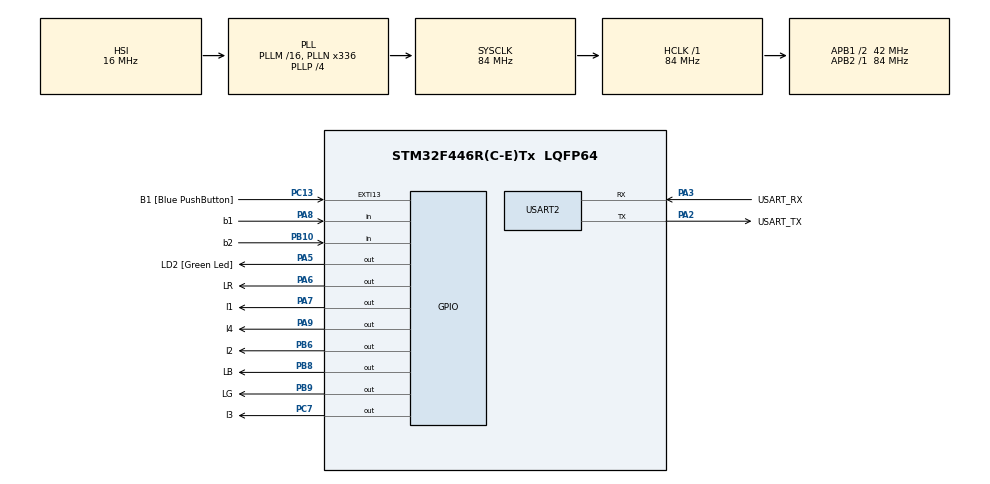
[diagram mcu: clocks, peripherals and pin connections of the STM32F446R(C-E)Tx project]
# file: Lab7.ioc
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Mcu.Family=STM32F4
Mcu.Name=STM32F446R(C-E)Tx
Mcu.Package=LQFP64
NVIC.PriorityGroup=NVIC_PRIORITYGROUP_0
PA13.GPIO_Label=TMS
PA13.Mode=Serial_Wire
PA13.Signal=SYS_JTMS-SWDIO
PA14.GPIO_Label=TCK
PA14.Mode=Serial_Wire
PA14.Signal=SYS_JTCK-SWCLK
PA2.GPIO_Label=USART_TX
PA2.Mode=Asynchronous
PA2.Signal=USART2_TX
PA3.GPIO_Label=USART_RX
PA3.Mode=Asynchronous
PA3.Signal=USART2_RX
PA5.GPIO_Label=LD2 [Green Led]
PA5.Signal=GPIO_Output
PA6.GPIO_Label=LR
PA6.Signal=GPIO_Output
PA7.GPIO_Label=l1
PA7.Signal=GPIO_Output
PA8.GPIO_Label=b1
PA8.GPIO_PuPd=GPIO_PULLUP
PA8.Signal=GPIO_Input
PA9.GPIO_Label=l4
PA9.Signal=GPIO_Output
PB10.GPIO_Label=b2
PB10.GPIO_PuPd=GPIO_PULLUP
PB10.Signal=GPIO_Input
PB3.GPIO_Label=SWO
PB3.Signal=SYS_JTDO-SWO
PB6.GPIO_Label=l2
PB6.Signal=GPIO_Output
PB8.GPIO_Label=LB
PB8.Signal=GPIO_Output
PB9.GPIO_Label=LG
PB9.Signal=GPIO_Output
PC13.GPIO_Label=B1 [Blue PushButton]
PC13.GPIO_ModeDefaultEXTI=GPIO_MODE_IT_FALLING
PC13.GPIO_PuPd=GPIO_PULLUP
PC13.Signal=GPXTI13
PC14-OSC32_IN.Mode=LSE-External-Oscillator
PC14-OSC32_IN.Signal=RCC_OSC32_IN
PC15-OSC32_OUT.Mode=LSE-External-Oscillator
PC15-OSC32_OUT.Signal=RCC_OSC32_OUT
PC7.GPIO_Label=l3
PC7.Signal=GPIO_Output
PH0-OSC_IN.Mode=HSE-External-Oscillator
PH0-OSC_IN.Signal=RCC_OSC_IN
PH1-OSC_OUT.Mode=HSE-External-Oscillator
PH1-OSC_OUT.Signal=RCC_OSC_OUT
ProjectManager.HeapSize=0x200
ProjectManager.StackSize=0x400
ProjectManager.TargetToolchain=STM32CubeIDE
RCC.48MHZClocksFreq_Value=84000000
RCC.AHBFreq_Value=84000000
RCC.APB1CLKDivider=RCC_HCLK_DIV2
RCC.APB1Freq_Value=42000000
RCC.APB1TimFreq_Value=84000000
RCC.APB2Freq_Value=84000000
RCC.APB2TimFreq_Value=84000000
RCC.CortexFreq_Value=84000000
RCC.FLatency-AdvancedSettings=FLASH_LATENCY_2
RCC.HCLKFreq_Value=84000000
RCC.HSE_VALUE=8000000
RCC.HSI_VALUE=16000000
RCC.PLLN=336
RCC.PLLP=RCC_PLLP_DIV4
RCC.SYSCLKFreq_VALUE=84000000
RCC.SYSCLKSource=RCC_SYSCLKSOURCE_PLLCLK
RCC.USBFreq_Value=168000000
RCC.VCOOutputFreq_Value=336000000
USART2.VirtualMode=VM_ASYNC
board=NUCLEO-F446RE

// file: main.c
/* USER CODE BEGIN Header */
/**
  ******************************************************************************
  * @file           : main.c
  * @brief          : Main program body
  ******************************************************************************
  * @attention
  *
  * Copyright (c) 2025 STMicroelectronics.
  * All rights reserved.
  *
  * This software is licensed under terms that can be found in the LICENSE file
  * in the root directory of this software component.
  * If no LICENSE file comes with this software, it is provided AS-IS.
  *
  ******************************************************************************
  */
/* USER CODE END Header */
#include "main.h"

/* USER CODE BEGIN Includes */
#include <stdint.h>
/* USER CODE END Includes */

UART_HandleTypeDef huart2;

/* USER CODE BEGIN PV */
uint8_t contador = 0;
uint8_t contRGB = 0;
uint8_t booleano = 0;
/* USER CODE END PV */

void SystemClock_Config(void);
static void MX_GPIO_Init(void);
static void MX_USART2_UART_Init(void);

int main(void)
{

  /* MCU Configuration--------------------------------------------------------*/

  /* Reset of all peripherals, Initializes the Flash interface and the Systick. */
  HAL_Init();

  /* Configure the system clock */
  SystemClock_Config();

  /* Initialize all configured peripherals */
  MX_GPIO_Init();
  MX_USART2_UART_Init();
  /* USER CODE BEGIN 2 */
  HAL_GPIO_WritePin(LB_GPIO_Port, LB_Pin, GPIO_PIN_SET);
  HAL_GPIO_WritePin(LR_GPIO_Port, LR_Pin, GPIO_PIN_SET);
  HAL_GPIO_WritePin(LG_GPIO_Port, LG_Pin, GPIO_PIN_SET);
  /* USER CODE END 2 */

  /* Infinite loop */
  /* USER CODE BEGIN WHILE */
  while (1)
  {
	  if (contador == 5){
		  contador = 0;
	  }if (contador == 255){
		  contador = 4;
	  }
	  if (contRGB == 7){
		  contRGB = 0;
	  }if (contRGB == 255){
		  contRGB = 6;
	  }
	  if (booleano >1){
	  		  booleano = 0;
	  }
	  if (HAL_GPIO_ReadPin(B1_GPIO_Port, B1_Pin)==0){
		  HAL_Delay(50);
		  if (HAL_GPIO_ReadPin(B1_GPIO_Port, B1_Pin)==0){
			  booleano++;
		  }while(HAL_GPIO_ReadPin(B1_GPIO_Port, B1_Pin)==0){}
	  }
	  switch(booleano){
	  case 0:
		  HAL_GPIO_WritePin(LD2_GPIO_Port, LD2_Pin, GPIO_PIN_RESET);
		  if (HAL_GPIO_ReadPin(b1_GPIO_Port, b1_Pin)==0){
			  HAL_Delay(50);
			  if (HAL_GPIO_ReadPin(b1_GPIO_Port, b1_Pin)==0){
				  contador++;
			  }while(HAL_GPIO_ReadPin(b1_GPIO_Port, b1_Pin)==0){}
		  }
		  if (HAL_GPIO_ReadPin(b2_GPIO_Port, b2_Pin)==0){
		  	  		  HAL_Delay(50);
		  	  		  if (HAL_GPIO_ReadPin(b2_GPIO_Port, b2_Pin)==0){
		  	  			  contador--;
		  	  		  }while(HAL_GPIO_ReadPin(b2_GPIO_Port, b2_Pin)==0){}
		  	  }
		  break;
	  case 1:
		  HAL_GPIO_WritePin(LD2_GPIO_Port, LD2_Pin, GPIO_PIN_SET);
	  		  if (HAL_GPIO_ReadPin(b1_GPIO_Port, b1_Pin)==0){
	  			  HAL_Delay(50);
	  			  if (HAL_GPIO_ReadPin(b1_GPIO_Port, b1_Pin)==0){
	  				  contRGB++;
	  			  }while(HAL_GPIO_ReadPin(b1_GPIO_Port, b1_Pin)==0){}
	  		  }
	  		  if (HAL_GPIO_ReadPin(b2_GPIO_Port, b2_Pin)==0){
	  		  	  		  HAL_Delay(50);
	  		  	  		  if (HAL_GPIO_ReadPin(b2_GPIO_Port, b2_Pin)==0){
	  		  	  			  contRGB--;
	  		  	  		  }while(HAL_GPIO_ReadPin(b2_GPIO_Port, b2_Pin)==0){}
	  		  	  }
	  		  break;
	  }
	  switch (contador) {
		case 0:
			HAL_GPIO_WritePin(l1_GPIO_Port, l1_Pin, GPIO_PIN_RESET);
			HAL_GPIO_WritePin(l2_GPIO_Port, l2_Pin, GPIO_PIN_RESET);
			HAL_GPIO_WritePin(l3_GPIO_Port, l3_Pin, GPIO_PIN_RESET);
			HAL_GPIO_WritePin(l4_GPIO_Port, l4_Pin, GPIO_PIN_RESET);
			break;
		case 1:
			HAL_GPIO_WritePin(l1_GPIO_Port, l1_Pin, GPIO_PIN_SET);
			HAL_GPIO_WritePin(l2_GPIO_Port, l2_Pin, GPIO_PIN_RESET);
			HAL_GPIO_WritePin(l3_GPIO_Port, l3_Pin, GPIO_PIN_RESET);
			HAL_GPIO_WritePin(l4_GPIO_Port, l4_Pin, GPIO_PIN_RESET);
			break;
		case 2:
			HAL_GPIO_WritePin(l1_GPIO_Port, l1_Pin, GPIO_PIN_RESET);
			HAL_GPIO_WritePin(l2_GPIO_Port, l2_Pin, GPIO_PIN_SET);
			HAL_GPIO_WritePin(l3_GPIO_Port, l3_Pin, GPIO_PIN_RESET);
			HAL_GPIO_WritePin(l4_GPIO_Port, l4_Pin, GPIO_PIN_RESET);
			break;
		case 3:
			HAL_GPIO_WritePin(l1_GPIO_Port, l1_Pin, GPIO_PIN_RESET);
			HAL_GPIO_WritePin(l2_GPIO_Port, l2_Pin, GPIO_PIN_RESET);
			HAL_GPIO_WritePin(l3_GPIO_Port, l3_Pin, GPIO_PIN_SET);
			HAL_GPIO_WritePin(l4_GPIO_Port, l4_Pin, GPIO_PIN_RESET);
			break;
		case 4:
			HAL_GPIO_WritePin(l1_GPIO_Port, l1_Pin, GPIO_PIN_RESET);
			HAL_GPIO_WritePin(l2_GPIO_Port, l2_Pin, GPIO_PIN_RESET);
			HAL_GPIO_WritePin(l3_GPIO_Port, l3_Pin, GPIO_PIN_RESET);
			HAL_GPIO_WritePin(l4_GPIO_Port, l4_Pin, GPIO_PIN_SET);
			break;
	}
	  switch (contRGB) {
	  		case 0:
	  			HAL_GPIO_WritePin(LR_GPIO_Port, LR_Pin, GPIO_PIN_SET);
	  			HAL_GPIO_WritePin(LG_GPIO_Port, LG_Pin, GPIO_PIN_SET);
	  			HAL_GPIO_WritePin(LB_GPIO_Port, LB_Pin, GPIO_PIN_SET);
	  			break;
	  		case 1:
	  			HAL_GPIO_WritePin(LR_GPIO_Port, LR_Pin, GPIO_PIN_RESET);
	  			HAL_GPIO_WritePin(LG_GPIO_Port, LG_Pin, GPIO_PIN_SET);
	  			HAL_GPIO_WritePin(LB_GPIO_Port, LB_Pin, GPIO_PIN_SET);
	  			break;
	  		case 2:
	  			HAL_GPIO_WritePin(LR_GPIO_Port, LR_Pin, GPIO_PIN_RESET);
	  			HAL_GPIO_WritePin(LG_GPIO_Port, LG_Pin, GPIO_PIN_SET);
	  			HAL_GPIO_WritePin(LB_GPIO_Port, LB_Pin, GPIO_PIN_RESET);
	  			break;
	  		case 3:
	  			HAL_GPIO_WritePin(LR_GPIO_Port, LR_Pin, GPIO_PIN_SET);
	  			HAL_GPIO_WritePin(LG_GPIO_Port, LG_Pin, GPIO_PIN_SET);
	  			HAL_GPIO_WritePin(LB_GPIO_Port, LB_Pin, GPIO_PIN_RESET);
	  			break;
	  		case 4:
	  			HAL_GPIO_WritePin(LR_GPIO_Port, LR_Pin, GPIO_PIN_SET);
	  			HAL_GPIO_WritePin(LG_GPIO_Port, LG_Pin, GPIO_PIN_RESET);
	  			HAL_GPIO_WritePin(LB_GPIO_Port, LB_Pin, GPIO_PIN_RESET);
	  			break;
	  		case 5:
	  			HAL_GPIO_WritePin(LR_GPIO_Port, LR_Pin, GPIO_PIN_SET);
	  			HAL_GPIO_WritePin(LG_GPIO_Port, LG_Pin, GPIO_PIN_RESET);
	  			HAL_GPIO_WritePin(LB_GPIO_Port, LB_Pin, GPIO_PIN_SET);
	  			break;
	  		case 6:
	  			HAL_GPIO_WritePin(LR_GPIO_Port, LR_Pin, GPIO_PIN_RESET);
	  			HAL_GPIO_WritePin(LG_GPIO_Port, LG_Pin, GPIO_PIN_RESET);
	  			HAL_GPIO_WritePin(LB_GPIO_Port, LB_Pin, GPIO_PIN_SET);
	  			break;
	  	}
    /* USER CODE END WHILE */

  }
}

void SystemClock_Config(void)
{
  RCC_OscInitTypeDef RCC_OscInitStruct = {0};
  RCC_ClkInitTypeDef RCC_ClkInitStruct = {0};

  /** Configure the main internal regulator output voltage
  */
  __HAL_RCC_PWR_CLK_ENABLE();
  __HAL_PWR_VOLTAGESCALING_CONFIG(PWR_REGULATOR_VOLTAGE_SCALE3);

  /** Initializes the RCC Oscillators according to the specified parameters
  * in the RCC_OscInitTypeDef structure.
  */
  RCC_OscInitStruct.OscillatorType = RCC_OSCILLATORTYPE_HSI;
  RCC_OscInitStruct.HSIState = RCC_HSI_ON;
  RCC_OscInitStruct.HSICalibrationValue = RCC_HSICALIBRATION_DEFAULT;
  RCC_OscInitStruct.PLL.PLLState = RCC_PLL_ON;
  RCC_OscInitStruct.PLL.PLLSource = RCC_PLLSOURCE_HSI;
  RCC_OscInitStruct.PLL.PLLM = 16;
  RCC_OscInitStruct.PLL.PLLN = 336;
  RCC_OscInitStruct.PLL.PLLP = RCC_PLLP_DIV4;
  RCC_OscInitStruct.PLL.PLLQ = 2;
  RCC_OscInitStruct.PLL.PLLR = 2;
  if (HAL_RCC_OscConfig(&RCC_OscInitStruct) != HAL_OK)
  {
    Error_Handler();
  }

  /** Initializes the CPU, AHB and APB buses clocks
  */
  RCC_ClkInitStruct.ClockType = RCC_CLOCKTYPE_HCLK|RCC_CLOCKTYPE_SYSCLK
                              |RCC_CLOCKTYPE_PCLK1|RCC_CLOCKTYPE_PCLK2;
  RCC_ClkInitStruct.SYSCLKSource = RCC_SYSCLKSOURCE_PLLCLK;
  RCC_ClkInitStruct.AHBCLKDivider = RCC_SYSCLK_DIV1;
  RCC_ClkInitStruct.APB1CLKDivider = RCC_HCLK_DIV2;
  RCC_ClkInitStruct.APB2CLKDivider = RCC_HCLK_DIV1;

  if (HAL_RCC_ClockConfig(&RCC_ClkInitStruct, FLASH_LATENCY_2) != HAL_OK)
  {
    Error_Handler();
  }
}

static void MX_USART2_UART_Init(void)
{

  huart2.Instance = USART2;
  huart2.Init.BaudRate = 115200;
  huart2.Init.WordLength = UART_WORDLENGTH_8B;
  huart2.Init.StopBits = UART_STOPBITS_1;
  huart2.Init.Parity = UART_PARITY_NONE;
  huart2.Init.Mode = UART_MODE_TX_RX;
  huart2.Init.HwFlowCtl = UART_HWCONTROL_NONE;
  huart2.Init.OverSampling = UART_OVERSAMPLING_16;
  if (HAL_UART_Init(&huart2) != HAL_OK)
  {
    Error_Handler();
  }

}

static void MX_GPIO_Init(void)
{
  GPIO_InitTypeDef GPIO_InitStruct = {0};

  /* GPIO Ports Clock Enable */
  __HAL_RCC_GPIOC_CLK_ENABLE();
  __HAL_RCC_GPIOH_CLK_ENABLE();
  __HAL_RCC_GPIOA_CLK_ENABLE();
  __HAL_RCC_GPIOB_CLK_ENABLE();

  /*Configure GPIO pin Output Level */
  HAL_GPIO_WritePin(GPIOA, LD2_Pin|LR_Pin|l1_Pin|l4_Pin, GPIO_PIN_RESET);

  /*Configure GPIO pin Output Level */
  HAL_GPIO_WritePin(l3_GPIO_Port, l3_Pin, GPIO_PIN_RESET);

  /*Configure GPIO pin Output Level */
  HAL_GPIO_WritePin(GPIOB, l2_Pin|LB_Pin|LG_Pin, GPIO_PIN_RESET);

  /*Configure GPIO pin : B1_Pin */
  GPIO_InitStruct.Pin = B1_Pin;
  GPIO_InitStruct.Mode = GPIO_MODE_IT_FALLING;
  GPIO_InitStruct.Pull = GPIO_PULLUP;
  HAL_GPIO_Init(B1_GPIO_Port, &GPIO_InitStruct);

  /*Configure GPIO pins : LD2_Pin LR_Pin l1_Pin l4_Pin */
  GPIO_InitStruct.Pin = LD2_Pin|LR_Pin|l1_Pin|l4_Pin;
  GPIO_InitStruct.Mode = GPIO_MODE_OUTPUT_PP;
  GPIO_InitStruct.Pull = GPIO_NOPULL;
  GPIO_InitStruct.Speed = GPIO_SPEED_FREQ_LOW;
  HAL_GPIO_Init(GPIOA, &GPIO_InitStruct);

  /*Configure GPIO pin : b2_Pin */
  GPIO_InitStruct.Pin = b2_Pin;
  GPIO_InitStruct.Mode = GPIO_MODE_INPUT;
  GPIO_InitStruct.Pull = GPIO_PULLUP;
  HAL_GPIO_Init(b2_GPIO_Port, &GPIO_InitStruct);

  /*Configure GPIO pin : l3_Pin */
  GPIO_InitStruct.Pin = l3_Pin;
  GPIO_InitStruct.Mode = GPIO_MODE_OUTPUT_PP;
  GPIO_InitStruct.Pull = GPIO_NOPULL;
  GPIO_InitStruct.Speed = GPIO_SPEED_FREQ_LOW;
  HAL_GPIO_Init(l3_GPIO_Port, &GPIO_InitStruct);

  /*Configure GPIO pin : b1_Pin */
  GPIO_InitStruct.Pin = b1_Pin;
  GPIO_InitStruct.Mode = GPIO_MODE_INPUT;
  GPIO_InitStruct.Pull = GPIO_PULLUP;
  HAL_GPIO_Init(b1_GPIO_Port, &GPIO_InitStruct);

  /*Configure GPIO pins : l2_Pin LB_Pin LG_Pin */
  GPIO_InitStruct.Pin = l2_Pin|LB_Pin|LG_Pin;
  GPIO_InitStruct.Mode = GPIO_MODE_OUTPUT_PP;
  GPIO_InitStruct.Pull = GPIO_NOPULL;
  GPIO_InitStruct.Speed = GPIO_SPEED_FREQ_LOW;
  HAL_GPIO_Init(GPIOB, &GPIO_InitStruct);

}

void Error_Handler(void)
{
  __disable_irq();
  while (1)
  {
  }
}
